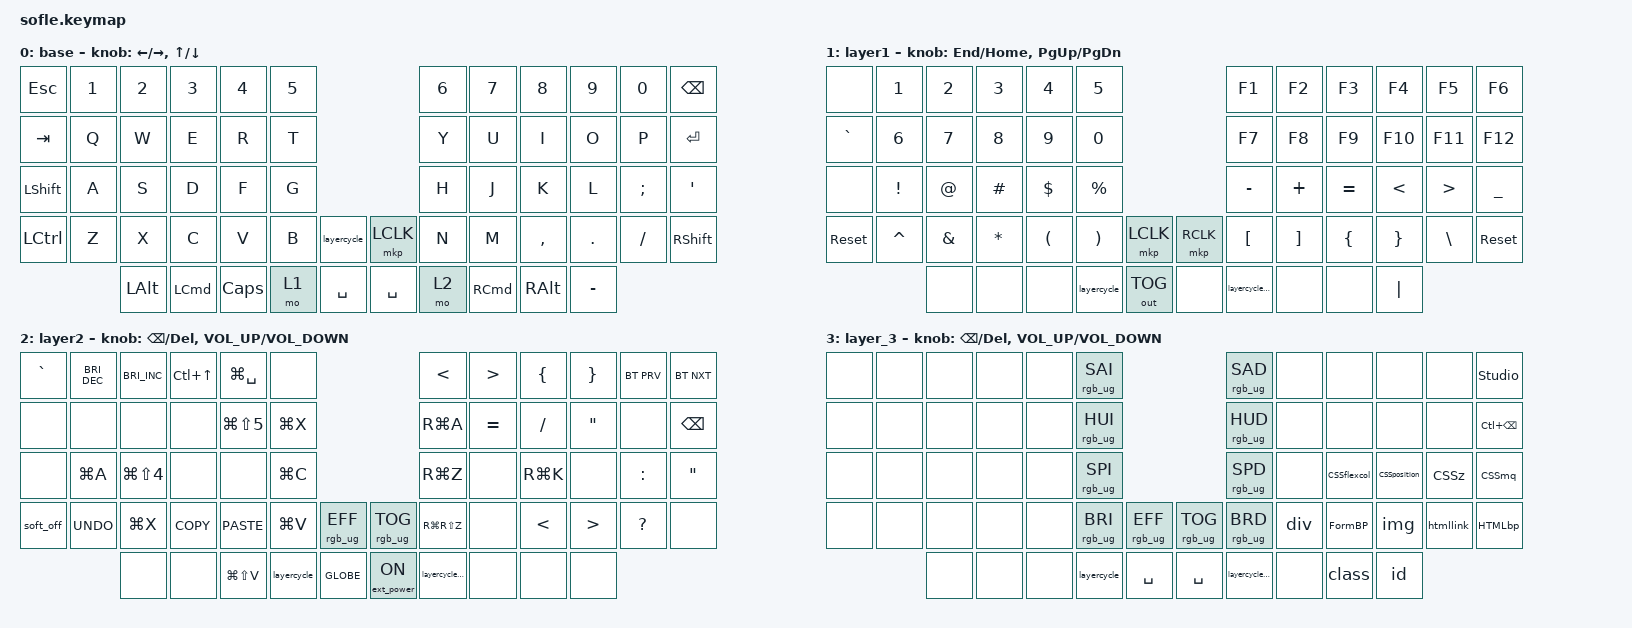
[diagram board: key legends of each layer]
/*
 * Copyright (c) 2020 The ZMK Contributors
 *
 * SPDX-License-Identifier: MIT
 */

#include <dt-bindings/led/led.h>
#include <dt-bindings/zmk/mouse.h>
#include <behaviors.dtsi>
#include <dt-bindings/zmk/bt.h>
#include <dt-bindings/zmk/ext_power.h>
#include <dt-bindings/zmk/keys.h>
#include <dt-bindings/zmk/outputs.h>
#include <dt-bindings/zmk/pointing.h>
#include <dt-bindings/zmk/rgb.h>

/*
 * Temporarily here because nice nano v2 spi is not defined on ZMK Yet
 * Source: https://github.com/zmkfirmware/zmk/blob/main/app/boards/shields/reviung41/boards/nice_nano.overlay
 * GitHub Issue: https://github.com/zmkfirmware/zmk/issues/885
 */

&pinctrl {
    spi3_default: spi3_default {
        group1 { psels = <NRF_PSEL(SPIM_MOSI, 0, 8)>; };
    };

    spi3_sleep: spi3_sleep {
        group1 {
            psels = <NRF_PSEL(SPIM_MOSI, 0, 8)>;
            low-power-enable;
        };
    };
};

&spi3 {
    compatible = "nordic,nrf-spim";
    status = "okay";
    pinctrl-0 = <&spi3_default>;
    pinctrl-1 = <&spi3_sleep>;
    pinctrl-names = "default", "sleep";

    led_strip: ws2812@0 {
        compatible = "worldsemi,ws2812-spi";

        /* SPI */

        reg = <0>; /* ignored, but necessary for SPI bindings */
        spi-max-frequency = <4000000>;

        /* WS2812 */

        chain-length = <30>;
        spi-one-frame = <0x70>;
        spi-zero-frame = <0x40>;
        color-mapping = <LED_COLOR_ID_GREEN LED_COLOR_ID_RED LED_COLOR_ID_BLUE>;
    };
};

/ {
    chosen { zmk,underglow = &led_strip; };
};

/* END temporary RGB support section */
// Encoder resolutions

&left_encoder { steps = <10>; };

&right_encoder { steps = <10>; };

/ {
    combos {
        compatible = "zmk,combos";

        sticky3 {
            bindings = <&tog 3>;
            key-positions = <53 56>;
        };

        resetmain {
            bindings = <&sys_reset>;
            key-positions = <0 5>;
        };

        resetperipheral {
            bindings = <&sys_reset>;
            key-positions = <6 11>;
        };
    };

    macros {
        HTMLbp: HTMLbp {
            compatible = "zmk,behavior-macro";
            #binding-cells = <0>;
            bindings = <&kp LT &kp EXCL &kp LS(D) &kp LS(O) &kp LS(C) &kp LS(T) &kp LS(Y) &kp LS(P) &kp LS(E) &kp SPACE &kp H &kp T &kp M &kp L &kp GT &kp RET &kp LT &kp H &kp T &kp M &kp L &kp SPACE &kp L &kp A &kp N &kp G &kp EQUAL &kp DQT &kp E &kp N &kp DQT &kp GT &kp RET &kp LT &kp H &kp E &kp A &kp D &kp GT &kp RET &kp LT &kp M &kp E &kp T &kp A &kp SPACE &kp C &kp H &kp A &kp R &kp S &kp E &kp T &kp EQUAL &kp DQT &kp LS(U) &kp LS(T) &kp LS(F) &kp MINUS &kp N8 &kp DQT &kp GT &kp RET &kp LT &kp M &kp E &kp T &kp A &kp SPACE &kp N &kp A &kp M &kp E &kp EQUAL &kp DQT &kp V &kp I &kp E &kp W &kp P &kp O &kp R &kp T &kp DQT &kp SPACE &kp C &kp O &kp N &kp T &kp E &kp N &kp T &kp EQUAL &kp DQT &kp W &kp I &kp D &kp T &kp H &kp EQUAL &kp D &kp E &kp V &kp I &kp C &kp E &kp MINUS &kp W &kp I &kp D &kp T &kp H &kp COMMA &kp SPACE &kp I &kp N &kp I &kp T &kp I &kp A &kp L &kp MINUS &kp S &kp C &kp A &kp L &kp E &kp EQUAL &kp N1 &kp DOT &kp N0 &kp DQT &kp GT &kp RET &kp LT &kp L &kp I &kp N &kp K &kp SPACE &kp R &kp E &kp L &kp EQUAL &kp DQT &kp S &kp T &kp Y &kp L &kp E &kp S &kp H &kp E &kp E &kp T &kp DQT &kp SPACE &kp H &kp R &kp E &kp F &kp EQUAL &kp DQT &kp S &kp T &kp Y &kp L &kp E &kp S &kp DOT &kp C &kp S &kp S &kp DQT &kp GT &kp RET &kp LT &kp FSLH &kp H &kp E &kp A &kp D &kp GT &kp RET &kp LT &kp B &kp O &kp D &kp Y &kp GT &kp RET &kp LT &kp H &kp E &kp A &kp D &kp E &kp R &kp GT &kp LT &kp H &kp N1 &kp GT &kp LT &kp FSLH &kp H &kp N1 &kp GT &kp LT &kp FSLH &kp H &kp E &kp A &kp D &kp E &kp R &kp GT &kp RET &kp LT &kp M &kp A &kp I &kp N &kp GT &kp RET &kp LT &kp P &kp GT &kp LT &kp FSLH &kp P &kp GT &kp RET &kp LT &kp FSLH &kp M &kp A &kp I &kp N &kp GT &kp RET &kp LT &kp F &kp O &kp O &kp T &kp E &kp R &kp GT &kp LT &kp P &kp GT &kp LT &kp FSLH &kp P &kp GT &kp LT &kp FSLH &kp F &kp O &kp O &kp T &kp E &kp R &kp GT &kp RET &kp LT &kp S &kp C &kp R &kp I &kp P &kp T &kp SPACE &kp S &kp R &kp C &kp EQUAL &kp DQT &kp S &kp C &kp R &kp I &kp P &kp T &kp S &kp DOT &kp J &kp S &kp DQT &kp GT &kp LT &kp FSLH &kp S &kp C &kp R &kp I &kp P &kp T &kp GT &kp RET &kp LT &kp FSLH &kp B &kp O &kp D &kp Y &kp GT &kp RET &kp LT &kp FSLH &kp H &kp T &kp M &kp L &kp GT>;
            label = "HTMLBP";
        };

        class: class {
            compatible = "zmk,behavior-macro";
            #binding-cells = <0>;
            bindings = <&kp C &kp L &kp A &kp S &kp S &kp EQUAL &kp DQT &kp DQT>;
            label = "CLASS";
        };

        id: id {
            compatible = "zmk,behavior-macro";
            #binding-cells = <0>;
            bindings = <&kp I &kp D &kp EQUAL &kp DQT &kp DQT>;
            label = "ID";
        };

        div: div {
            compatible = "zmk,behavior-macro";
            #binding-cells = <0>;
            bindings = <&kp LT &kp D &kp I &kp V &kp GT &kp LT &kp FSLH &kp D &kp I &kp V &kp GT>;
            label = "DIV";
        };

        htmllink: htmllink {
            compatible = "zmk,behavior-macro";
            #binding-cells = <0>;
            bindings = <&kp LT &kp A &kp SPACE &kp H &kp R &kp E &kp F &kp EQUAL &kp DQT &kp DQT &kp SPACE &kp T &kp A &kp R &kp G &kp E &kp T &kp EQUAL &kp DQT &kp UNDER &kp B &kp L &kp A &kp N &kp K &kp DQT &kp GT &kp LS(T) &kp E &kp X &kp T &kp LT &kp FSLH &kp A &kp GT>;
            label = "HTMLLINK";
        };

        img: img {
            compatible = "zmk,behavior-macro";
            #binding-cells = <0>;
            bindings = <&kp LT &kp I &kp M &kp G &kp SPACE &kp S &kp R &kp C &kp EQUAL &kp DQT &kp DQT &kp SPACE &kp A &kp L &kp T &kp EQUAL &kp DQT &kp DQT &kp SPACE &kp FSLH &kp GT>;
            label = "IMG";
        };

        CSSmq: CSSbp {
            compatible = "zmk,behavior-macro";
            #binding-cells = <0>;
            bindings = <&kp AT &kp M &kp E &kp D &kp I &kp A &kp SPACE &kp S &kp C &kp R &kp E &kp E &kp N &kp SPACE &kp A &kp N &kp D &kp SPACE &kp LPAR &kp M &kp I &kp N &kp MINUS &kp W &kp I &kp D &kp T &kp H &kp COLON &kp SPACE &kp N4 &kp N8 &kp N0 &kp P &kp X &kp RPAR &kp SPACE &kp RBKT &kp RET &kp RET &kp RBRC>;
            label = "CSSBP";
        };

        CSSz: CSSz {
            compatible = "zmk,behavior-macro";
            #binding-cells = <0>;
            bindings = <&kp Z &kp MINUS &kp I &kp N &kp D &kp E &kp X &kp COLON &kp SPACE &kp N0 &kp SEMI>;
            label = "CSSZ";
        };

        CSSposition: CSSposition {
            compatible = "zmk,behavior-macro";
            #binding-cells = <0>;
            bindings = <&kp P &kp O &kp S &kp I &kp T &kp I &kp O &kp N &kp COLON &kp SPACE &kp R &kp E &kp L &kp A &kp T &kp I &kp V &kp E &kp SEMI>;
            label = "CSSPOSITION";
        };

        CSSflexcol: CSSflexcol {
            compatible = "zmk,behavior-macro";
            #binding-cells = <0>;
            bindings = <&kp STAR &kp SPACE &kp RBKT &kp RET &kp D &kp I &kp S &kp P &kp L &kp A &kp Y &kp COLON &kp SPACE &kp F &kp L &kp E &kp X &kp SEMI &kp RET &kp F &kp L &kp E &kp X &kp MINUS &kp D &kp I &kp R &kp E &kp C &kp T &kp I &kp O &kp N &kp COLON &kp SPACE &kp C &kp O &kp L &kp U &kp M &kp N &kp SEMI &kp RET &kp F &kp L &kp E &kp X &kp MINUS &kp W &kp R &kp A &kp P &kp COLON &kp SPACE &kp W &kp R &kp A &kp P &kp SEMI &kp RET &kp J &kp U &kp S &kp T &kp I &kp F &kp Y &kp MINUS &kp C &kp O &kp N &kp T &kp E &kp N &kp T &kp COLON &kp SPACE &kp S &kp P &kp A &kp C &kp E &kp MINUS &kp E &kp V &kp E &kp N &kp L &kp Y &kp SEMI &kp RET &kp RBRC>;
            label = "CSSFLEXCOL";
        };

        FormBP: FormBP {
            compatible = "zmk,behavior-macro";
            #binding-cells = <0>;
            bindings = <&kp LT &kp F &kp O &kp R &kp M &kp SPACE &kp A &kp C &kp T &kp I &kp O &kp N &kp EQUAL &kp DQT &kp DQT &kp GT &kp RET &kp LT &kp F &kp I &kp E &kp L &kp D &kp S &kp E &kp T &kp SPACE &kp C &kp L &kp A &kp S &kp S &kp EQUAL &kp DQT &kp DQT &kp GT &kp RET &kp LT &kp L &kp A &kp B &kp E &kp L &kp SPACE &kp F &kp O &kp R &kp EQUAL &kp DQT &kp DQT &kp GT &kp LT &kp FSLH &kp L &kp A &kp B &kp E &kp L &kp GT &kp RET &kp LT &kp I &kp N &kp P &kp U &kp T &kp SPACE &kp T &kp Y &kp P &kp E &kp EQUAL &kp DQT &kp DQT &kp SPACE &kp I &kp D &kp EQUAL &kp DQT &kp DQT &kp SPACE &kp N &kp A &kp M &kp E &kp EQUAL &kp DQT &kp DQT &kp SPACE &kp P &kp L &kp A &kp C &kp E &kp H &kp O &kp L &kp D &kp E &kp R &kp EQUAL &kp DQT &kp DQT &kp GT &kp RET &kp LT &kp FSLH &kp F &kp I &kp E &kp L &kp D &kp S &kp E &kp T &kp GT &kp RET &kp LT &kp I &kp N &kp P &kp U &kp T &kp SPACE &kp T &kp Y &kp P &kp E &kp EQUAL &kp DQT &kp S &kp U &kp B &kp M &kp I &kp T &kp DQT &kp SPACE &kp V &kp A &kp L &kp U &kp E &kp EQUAL &kp DQT &kp LS(S) &kp U &kp B &kp M &kp I &kp T &kp DQT &kp GT &kp RET &kp LT &kp FSLH &kp F &kp O &kp R &kp M &kp GT>;
            label = "FORMBP";
        };
    };

    behaviors {
        layercycle: layercycle {
            compatible = "zmk,behavior-tap-dance";
            #binding-cells = <0>;
            bindings = <&to 1>, <&to 2>, <&to 3>, <&to 0>;

            label = "LAYERCYCLE";
            tapping-term-ms = <500>;
        };

        layercycleback: layercycleback {
            compatible = "zmk,behavior-tap-dance";
            #binding-cells = <0>;
            bindings = <&to 0>, <&to 3>, <&to 2>, <&to 1>;

            label = "LAYERCYCLEBACK";
            tapping-term-ms = <500>;
        };
    };

    keymap {
        compatible = "zmk,keymap";

        base {
            bindings = <
&kp ESC           &kp N1  &kp N2        &kp N3            &kp N4        &kp N5                            &kp N6  &kp N7             &kp N8         &kp N9     &kp N0    &kp BACKSPACE
&kp TAB           &kp Q   &kp W         &kp E             &kp R         &kp T                             &kp Y   &kp U              &kp I          &kp O      &kp P     &kp RET
&kp LSHIFT        &kp A   &kp S         &kp D             &kp F         &kp G                             &kp H   &kp J              &kp K          &kp L      &kp SEMI  &kp SQT
&kp LEFT_CONTROL  &kp Z   &kp X         &kp C             &kp V         &kp B   &layercycle    &mkp LCLK  &kp N   &kp M              &kp COMMA      &kp DOT    &kp FSLH  &kp RIGHT_SHIFT
                          &kp LEFT_ALT  &kp LEFT_COMMAND  &kp CAPSLOCK  &mo 1   &kp SPACE      &kp SPACE  &mo 2   &kp RIGHT_COMMAND  &kp RIGHT_ALT  &kp MINUS
            >;

            sensor-bindings =
                <&inc_dec_kp LEFT_ARROW RIGHT_ARROW>,
                <&inc_dec_kp UP_ARROW DOWN_ARROW>;
        };

        layer1 {
            bindings = <
&none       &kp NUMBER_1  &kp NUMBER_2  &kp NUMBER_3  &kp NUMBER_4          &kp N5                                            &kp F1           &kp F2    &kp F3          &kp F4         &kp F5            &kp F6
&kp GRAVE   &kp N6        &kp N7        &kp NUMBER_8  &kp N9                &kp N0                                            &kp F7           &kp F8    &kp F9          &kp F10        &kp F11           &kp F12
&none       &kp EXCL      &kp AT        &kp HASH      &kp DLLR              &kp PRCNT                                         &kp MINUS        &kp PLUS  &kp EQUAL       &kp LESS_THAN  &kp GREATER_THAN  &kp UNDERSCORE
&sys_reset  &kp CARET     &kp AMPS      &kp ASTRK     &kp LEFT_PARENTHESIS  &kp RIGHT_PARENTHESIS  &mkp LCLK       &mkp RCLK  &kp LBKT         &kp RBKT  &kp LEFT_BRACE  &kp RBRC       &kp BSLH          &sys_reset
                          &none         &none         &none                 &layercycle            &out OUT_TOG    &none      &layercycleback  &none     &none           &kp PIPE
            >;

            sensor-bindings = <&inc_dec_kp END HOME>, <&inc_dec_kp PG_UP PG_DN>;
        };

        layer2 {
            bindings = <
&kp GRAVE  &kp C_BRIGHTNESS_DEC  &kp C_BRIGHTNESS_INC  &kp LC(UP_ARROW)  &kp LG(SPACE)   &none                                             &kp LESS_THAN    &kp GREATER_THAN  &kp LEFT_BRACE  &kp RIGHT_BRACE    &bt BT_PRV    &bt BT_NXT
&none      &none                 &none                 &none             &kp LG(LS(N5))  &kp LG(X)                                         &kp RG(A)        &kp EQUAL         &kp SLASH       &kp DOUBLE_QUOTES  &none         &kp BACKSPACE
&none      &kp LG(A)             &kp LG(LS(N4))        &none             &none           &kp LG(C)                                         &kp RG(Z)        &none             &kp RG(K)       &none              &kp COLON     &kp DOUBLE_QUOTES
&soft_off  &kp K_UNDO            &kp LG(X)             &kp K_COPY        &kp K_PASTE     &kp LG(V)    &rgb_ug RGB_EFF    &rgb_ug RGB_TOG   &kp RG(RS(Z))    &none             &kp LESS_THAN   &kp GREATER_THAN   &kp QUESTION  &none
                                 &none                 &none             &kp LG(LS(V))   &layercycle  &kp GLOBE          &ext_power EP_ON  &layercycleback  &none             &none           &none
            >;

            sensor-bindings =
                <&inc_dec_kp BACKSPACE DELETE>,
                <&inc_dec_kp C_VOLUME_UP C_VOLUME_DOWN>;
        };

        layer_3 {
            bindings = <
&none  &none  &none  &none  &none  &rgb_ug RGB_SAI                                      &rgb_ug RGB_SAD  &none  &none        &none         &none      &studio_unlock
&none  &none  &none  &none  &none  &rgb_ug RGB_HUI                                      &rgb_ug RGB_HUD  &none  &none        &none         &none      &kp LC(BACKSPACE)
&none  &none  &none  &none  &none  &rgb_ug RGB_SPI                                      &rgb_ug RGB_SPD  &none  &CSSflexcol  &CSSposition  &CSSz      &CSSmq
&none  &none  &none  &none  &none  &rgb_ug RGB_BRI  &rgb_ug RGB_EFF    &rgb_ug RGB_TOG  &rgb_ug RGB_BRD  &div   &FormBP      &img          &htmllink  &HTMLbp
              &none  &none  &none  &layercycle      &kp SPACE          &kp SPACE        &layercycleback  &none  &class       &id
            >;

            sensor-bindings =
                <&inc_dec_kp BACKSPACE DELETE>,
                <&inc_dec_kp C_VOLUME_UP C_VOLUME_DOWN>;
        };
    };
};
